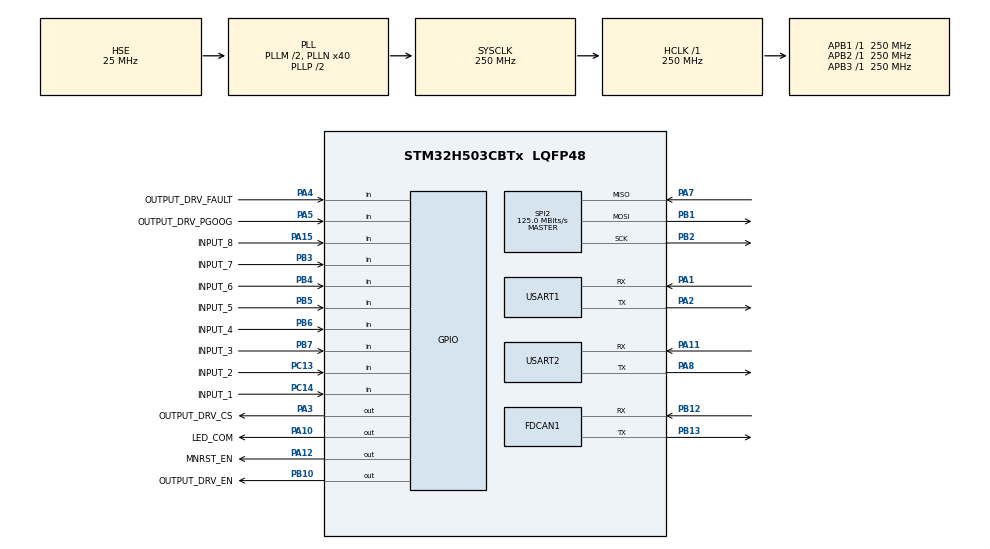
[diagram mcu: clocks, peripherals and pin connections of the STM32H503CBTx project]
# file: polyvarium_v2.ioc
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BOOTPATH.BootPathName=LEGACY
BOOTPATH.UserSelectedBootPath=LEGACY
FDCAN1.CalculateBaudRateNominal=520833
FDCAN1.CalculateTimeBitNominal=1920
FDCAN1.CalculateTimeQuantumNominal=640.0
Mcu.Family=STM32H5
Mcu.Name=STM32H503CBTx
Mcu.Package=LQFP48
NVIC.PriorityGroup=NVIC_PRIORITYGROUP_4
NVIC.TIM6_IRQn=true\:0\:0\:false\:false\:true\:true\:true\:true
PA1.Mode=Asynchronous
PA1.Signal=USART1_RX
PA10.GPIO_Label=LED_COM
PA10.Signal=GPIO_Output
PA11.Mode=Asynchronous
PA11.Signal=USART2_RX
PA12.GPIO_Label=MNRST_EN
PA12.PinState=GPIO_PIN_SET
PA12.Signal=GPIO_Output
PA15(JTDI).GPIO_Label=INPUT_8
PA15(JTDI).Signal=GPIO_Input
PA2.Mode=Asynchronous
PA2.Signal=USART1_TX
PA3.GPIO_Label=OUTPUT_DRV_CS
PA3.Signal=GPIO_Output
PA4.GPIO_Label=OUTPUT_DRV_FAULT
PA4.Signal=GPIO_Input
PA5.GPIO_Label=OUTPUT_DRV_PGOOG
PA5.Signal=GPIO_Input
PA7.Mode=Full_Duplex_Master
PA7.Signal=SPI2_MISO
PA8.Mode=Asynchronous
PA8.Signal=USART2_TX
PB1.Mode=Full_Duplex_Master
PB1.Signal=SPI2_MOSI
PB10.GPIO_Label=OUTPUT_DRV_EN
PB10.Signal=GPIO_Output
PB12.Mode=FDCAN_Activate
PB12.Signal=FDCAN1_RX
PB13.Mode=FDCAN_Activate
PB13.Signal=FDCAN1_TX
PB2.Mode=Full_Duplex_Master
PB2.Signal=SPI2_SCK
PB3(JTDO/TRACESWO).GPIO_Label=INPUT_7
PB3(JTDO/TRACESWO).Signal=GPIO_Input
PB4(NJTRST).GPIO_Label=INPUT_6
PB4(NJTRST).Signal=GPIO_Input
PB5.GPIO_Label=INPUT_5
PB5.Signal=GPIO_Input
PB6.GPIO_Label=INPUT_4
PB6.Signal=GPIO_Input
PB7.GPIO_Label=INPUT_3
PB7.Signal=GPIO_Input
PC13.GPIO_Label=INPUT_2
PC13.Signal=GPIO_Input
PC14-OSC32_IN(OSC32_IN).GPIO_Label=INPUT_1
PC14-OSC32_IN(OSC32_IN).Signal=GPIO_Input
PH0-OSC_IN(PH0).Mode=HSE-External-Oscillator
PH0-OSC_IN(PH0).Signal=RCC_OSC_IN
PH1-OSC_OUT(PH1).Mode=HSE-External-Oscillator
PH1-OSC_OUT(PH1).Signal=RCC_OSC_OUT
ProjectManager.HeapSize=0x200
ProjectManager.StackSize=0x400
ProjectManager.TargetToolchain=CMake
RCC.ADCFreq_Value=250000000
RCC.AHBFreq_Value=250000000
RCC.APB1Freq_Value=250000000
RCC.APB1TimFreq_Value=250000000
RCC.APB2Freq_Value=250000000
RCC.APB2TimFreq_Value=250000000
RCC.APB3Freq_Value=250000000
RCC.CSI_VALUE=4000000
RCC.CortexFreq_Value=250000000
RCC.EPOD_VALUE=25000000
RCC.HCLKFreq_Value=250000000
RCC.HSE_VALUE=25000000
RCC.HSI48_VALUE=48000000
RCC.HSI_VALUE=64000000
RCC.LSE_VALUE=32768
RCC.LSIRC_VALUE=32000
RCC.PLLFRACN=0
RCC.PLLM=2
RCC.PLLN=40
RCC.PLLSourceVirtual=RCC_PLL1_SOURCE_HSE
RCC.SYSCLKFreq_VALUE=250000000
RCC.SYSCLKSource=RCC_SYSCLKSOURCE_PLLCLK
RCC.USBFreq_Value=48000000
RCC.VCOOutputFreq_Value=500000000
SPI2.BaudRatePrescaler=SPI_BAUDRATEPRESCALER_2
SPI2.CalculateBaudRate=125.0 MBits/s
SPI2.Direction=SPI_DIRECTION_2LINES
SPI2.Mode=SPI_MODE_MASTER
SPI2.VirtualType=VM_MASTER
TIM6.PeriodNoDither=10-1
TIM6.Prescaler=25000-1
USART1.VirtualMode=VM_ASYNC
USART2.VirtualMode=VM_ASYNC
VP_BOOTPATH_VS_BOOTPATH.Mode=BP_Activate
VP_CORTEX_M33_NS_VS_Hclk.Mode=Hclk_Mode
VP_ICACHE_VS_ICACHE.Mode=DirectMappedCache
VP_MEMORYMAP_VS_MEMORYMAP.Mode=CurAppReg
VP_PWR_VS_DBSignals.Mode=DisableDeadBatterySignals
VP_PWR_VS_LPOM.Mode=PowerOptimisation
VP_PWR_VS_SECSignals.Mode=Security/Privilege
VP_TIM6_VS_ClockSourceINT.Mode=Enable_Timer
board=custom

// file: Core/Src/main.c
/* USER CODE BEGIN Header */
/**
  ******************************************************************************
  * @file           : main.c
  * @brief          : Main program body
  ******************************************************************************
  * @attention
  *
  * Copyright (c) 2025 STMicroelectronics.
  * All rights reserved.
  *
  * This software is licensed under terms that can be found in the LICENSE file
  * in the root directory of this software component.
  * If no LICENSE file comes with this software, it is provided AS-IS.
  *
  ******************************************************************************
  */
/* USER CODE END Header */
#include "main.h"

FDCAN_HandleTypeDef hfdcan1;

SPI_HandleTypeDef hspi2;

TIM_HandleTypeDef htim6;

UART_HandleTypeDef huart1;
UART_HandleTypeDef huart2;

void SystemClock_Config(void);
static void MX_GPIO_Init(void);
static void MX_FDCAN1_Init(void);
static void MX_SPI2_Init(void);
static void MX_USART1_UART_Init(void);
static void MX_USART2_UART_Init(void);
static void MX_ICACHE_Init(void);
static void MX_TIM6_Init(void);
/* USER CODE BEGIN PFP */
static void App_InputsInit(void);
/* USER CODE END PFP */

int main(void)
{

  /* MCU Configuration--------------------------------------------------------*/

  /* Reset of all peripherals, Initializes the Flash interface and the Systick. */
  HAL_Init();

  /* Configure the system clock */
  SystemClock_Config();

  /* Initialize all configured peripherals */
  MX_GPIO_Init();
  MX_FDCAN1_Init();
  MX_SPI2_Init();
  MX_USART1_UART_Init();
  MX_USART2_UART_Init();
  MX_ICACHE_Init();
  MX_TIM6_Init();
  /* USER CODE BEGIN 2 */

  // 1. Init des couches de service
  evq_init();              // file d’événements
  tmr_init();              // timers logiciels

  // 2. Init des entrées
  App_InputsInit();

  // 3. Init de la FSM
  fsm_init(ST_IDLE);       // état initial de la table FSM

  HAL_TIM_Base_Start_IT(&htim6); // démarrage du timer périodique

  /* USER CODE END 2 */

  /* Infinite loop */
  while (1)
  {

  }
}

void SystemClock_Config(void)
{
  RCC_OscInitTypeDef RCC_OscInitStruct = {0};
  RCC_ClkInitTypeDef RCC_ClkInitStruct = {0};

  /** Configure the main internal regulator output voltage
  */
  __HAL_PWR_VOLTAGESCALING_CONFIG(PWR_REGULATOR_VOLTAGE_SCALE0);

  while(!__HAL_PWR_GET_FLAG(PWR_FLAG_VOSRDY)) {}

  /** Initializes the RCC Oscillators according to the specified parameters
  * in the RCC_OscInitTypeDef structure.
  */
  RCC_OscInitStruct.OscillatorType = RCC_OSCILLATORTYPE_HSE;
  RCC_OscInitStruct.HSEState = RCC_HSE_ON;
  RCC_OscInitStruct.PLL.PLLState = RCC_PLL_ON;
  RCC_OscInitStruct.PLL.PLLSource = RCC_PLL1_SOURCE_HSE;
  RCC_OscInitStruct.PLL.PLLM = 2;
  RCC_OscInitStruct.PLL.PLLN = 40;
  RCC_OscInitStruct.PLL.PLLP = 2;
  RCC_OscInitStruct.PLL.PLLQ = 2;
  RCC_OscInitStruct.PLL.PLLR = 2;
  RCC_OscInitStruct.PLL.PLLRGE = RCC_PLL1_VCIRANGE_3;
  RCC_OscInitStruct.PLL.PLLVCOSEL = RCC_PLL1_VCORANGE_WIDE;
  RCC_OscInitStruct.PLL.PLLFRACN = 0;
  if (HAL_RCC_OscConfig(&RCC_OscInitStruct) != HAL_OK)
  {
    Error_Handler();
  }

  /** Initializes the CPU, AHB and APB buses clocks
  */
  RCC_ClkInitStruct.ClockType = RCC_CLOCKTYPE_HCLK|RCC_CLOCKTYPE_SYSCLK
                              |RCC_CLOCKTYPE_PCLK1|RCC_CLOCKTYPE_PCLK2
                              |RCC_CLOCKTYPE_PCLK3;
  RCC_ClkInitStruct.SYSCLKSource = RCC_SYSCLKSOURCE_PLLCLK;
  RCC_ClkInitStruct.AHBCLKDivider = RCC_SYSCLK_DIV1;
  RCC_ClkInitStruct.APB1CLKDivider = RCC_HCLK_DIV1;
  RCC_ClkInitStruct.APB2CLKDivider = RCC_HCLK_DIV1;
  RCC_ClkInitStruct.APB3CLKDivider = RCC_HCLK_DIV1;

  if (HAL_RCC_ClockConfig(&RCC_ClkInitStruct, FLASH_LATENCY_5) != HAL_OK)
  {
    Error_Handler();
  }
}

static void MX_FDCAN1_Init(void)
{

  hfdcan1.Instance = FDCAN1;
  hfdcan1.Init.ClockDivider = FDCAN_CLOCK_DIV1;
  hfdcan1.Init.FrameFormat = FDCAN_FRAME_CLASSIC;
  hfdcan1.Init.Mode = FDCAN_MODE_NORMAL;
  hfdcan1.Init.AutoRetransmission = DISABLE;
  hfdcan1.Init.TransmitPause = DISABLE;
  hfdcan1.Init.ProtocolException = DISABLE;
  hfdcan1.Init.NominalPrescaler = 16;
  hfdcan1.Init.NominalSyncJumpWidth = 1;
  hfdcan1.Init.NominalTimeSeg1 = 1;
  hfdcan1.Init.NominalTimeSeg2 = 1;
  hfdcan1.Init.DataPrescaler = 1;
  hfdcan1.Init.DataSyncJumpWidth = 1;
  hfdcan1.Init.DataTimeSeg1 = 1;
  hfdcan1.Init.DataTimeSeg2 = 1;
  hfdcan1.Init.StdFiltersNbr = 0;
  hfdcan1.Init.ExtFiltersNbr = 0;
  hfdcan1.Init.TxFifoQueueMode = FDCAN_TX_FIFO_OPERATION;
  if (HAL_FDCAN_Init(&hfdcan1) != HAL_OK)
  {
    Error_Handler();
  }

}

static void MX_ICACHE_Init(void)
{

  /** Enable instruction cache in 1-way (direct mapped cache)
  */
  if (HAL_ICACHE_ConfigAssociativityMode(ICACHE_1WAY) != HAL_OK)
  {
    Error_Handler();
  }
  if (HAL_ICACHE_Enable() != HAL_OK)
  {
    Error_Handler();
  }

}

static void MX_SPI2_Init(void)
{

  /* SPI2 parameter configuration*/
  hspi2.Instance = SPI2;
  hspi2.Init.Mode = SPI_MODE_MASTER;
  hspi2.Init.Direction = SPI_DIRECTION_2LINES;
  hspi2.Init.DataSize = SPI_DATASIZE_4BIT;
  hspi2.Init.CLKPolarity = SPI_POLARITY_LOW;
  hspi2.Init.CLKPhase = SPI_PHASE_1EDGE;
  hspi2.Init.NSS = SPI_NSS_SOFT;
  hspi2.Init.BaudRatePrescaler = SPI_BAUDRATEPRESCALER_2;
  hspi2.Init.FirstBit = SPI_FIRSTBIT_MSB;
  hspi2.Init.TIMode = SPI_TIMODE_DISABLE;
  hspi2.Init.CRCCalculation = SPI_CRCCALCULATION_DISABLE;
  hspi2.Init.CRCPolynomial = 0x7;
  hspi2.Init.NSSPMode = SPI_NSS_PULSE_ENABLE;
  hspi2.Init.NSSPolarity = SPI_NSS_POLARITY_LOW;
  hspi2.Init.FifoThreshold = SPI_FIFO_THRESHOLD_01DATA;
  hspi2.Init.MasterSSIdleness = SPI_MASTER_SS_IDLENESS_00CYCLE;
  hspi2.Init.MasterInterDataIdleness = SPI_MASTER_INTERDATA_IDLENESS_00CYCLE;
  hspi2.Init.MasterReceiverAutoSusp = SPI_MASTER_RX_AUTOSUSP_DISABLE;
  hspi2.Init.MasterKeepIOState = SPI_MASTER_KEEP_IO_STATE_DISABLE;
  hspi2.Init.IOSwap = SPI_IO_SWAP_DISABLE;
  hspi2.Init.ReadyMasterManagement = SPI_RDY_MASTER_MANAGEMENT_INTERNALLY;
  hspi2.Init.ReadyPolarity = SPI_RDY_POLARITY_HIGH;
  if (HAL_SPI_Init(&hspi2) != HAL_OK)
  {
    Error_Handler();
  }

}

static void MX_TIM6_Init(void)
{

  TIM_MasterConfigTypeDef sMasterConfig = {0};

  htim6.Instance = TIM6;
  htim6.Init.Prescaler = 25000-1;
  htim6.Init.CounterMode = TIM_COUNTERMODE_UP;
  htim6.Init.Period = 9;
  htim6.Init.AutoReloadPreload = TIM_AUTORELOAD_PRELOAD_DISABLE;
  if (HAL_TIM_Base_Init(&htim6) != HAL_OK)
  {
    Error_Handler();
  }
  sMasterConfig.MasterOutputTrigger = TIM_TRGO_RESET;
  sMasterConfig.MasterSlaveMode = TIM_MASTERSLAVEMODE_DISABLE;
  if (HAL_TIMEx_MasterConfigSynchronization(&htim6, &sMasterConfig) != HAL_OK)
  {
    Error_Handler();
  }

}

static void MX_USART1_UART_Init(void)
{

  huart1.Instance = USART1;
  huart1.Init.BaudRate = 115200;
  huart1.Init.WordLength = UART_WORDLENGTH_8B;
  huart1.Init.StopBits = UART_STOPBITS_1;
  huart1.Init.Parity = UART_PARITY_NONE;
  huart1.Init.Mode = UART_MODE_TX_RX;
  huart1.Init.HwFlowCtl = UART_HWCONTROL_NONE;
  huart1.Init.OverSampling = UART_OVERSAMPLING_16;
  huart1.Init.OneBitSampling = UART_ONE_BIT_SAMPLE_DISABLE;
  huart1.Init.ClockPrescaler = UART_PRESCALER_DIV1;
  huart1.AdvancedInit.AdvFeatureInit = UART_ADVFEATURE_NO_INIT;
  if (HAL_UART_Init(&huart1) != HAL_OK)
  {
    Error_Handler();
  }
  if (HAL_UARTEx_SetTxFifoThreshold(&huart1, UART_TXFIFO_THRESHOLD_1_8) != HAL_OK)
  {
    Error_Handler();
  }
  if (HAL_UARTEx_SetRxFifoThreshold(&huart1, UART_RXFIFO_THRESHOLD_1_8) != HAL_OK)
  {
    Error_Handler();
  }
  if (HAL_UARTEx_DisableFifoMode(&huart1) != HAL_OK)
  {
    Error_Handler();
  }

}

static void MX_USART2_UART_Init(void)
{

  huart2.Instance = USART2;
  huart2.Init.BaudRate = 115200;
  huart2.Init.WordLength = UART_WORDLENGTH_8B;
  huart2.Init.StopBits = UART_STOPBITS_1;
  huart2.Init.Parity = UART_PARITY_NONE;
  huart2.Init.Mode = UART_MODE_TX_RX;
  huart2.Init.HwFlowCtl = UART_HWCONTROL_NONE;
  huart2.Init.OverSampling = UART_OVERSAMPLING_16;
  huart2.Init.OneBitSampling = UART_ONE_BIT_SAMPLE_DISABLE;
  huart2.Init.ClockPrescaler = UART_PRESCALER_DIV1;
  huart2.AdvancedInit.AdvFeatureInit = UART_ADVFEATURE_NO_INIT;
  if (HAL_UART_Init(&huart2) != HAL_OK)
  {
    Error_Handler();
  }
  if (HAL_UARTEx_SetTxFifoThreshold(&huart2, UART_TXFIFO_THRESHOLD_1_8) != HAL_OK)
  {
    Error_Handler();
  }
  if (HAL_UARTEx_SetRxFifoThreshold(&huart2, UART_RXFIFO_THRESHOLD_1_8) != HAL_OK)
  {
    Error_Handler();
  }
  if (HAL_UARTEx_DisableFifoMode(&huart2) != HAL_OK)
  {
    Error_Handler();
  }

}

static void MX_GPIO_Init(void)
{
  GPIO_InitTypeDef GPIO_InitStruct = {0};

  /* GPIO Ports Clock Enable */
  __HAL_RCC_GPIOC_CLK_ENABLE();
  __HAL_RCC_GPIOH_CLK_ENABLE();
  __HAL_RCC_GPIOA_CLK_ENABLE();
  __HAL_RCC_GPIOB_CLK_ENABLE();

  /*Configure GPIO pin Output Level */
  HAL_GPIO_WritePin(GPIOA, OUTPUT_DRV_CS_Pin|LED_COM_Pin, GPIO_PIN_RESET);

  /*Configure GPIO pin Output Level */
  HAL_GPIO_WritePin(OUTPUT_DRV_EN_GPIO_Port, OUTPUT_DRV_EN_Pin, GPIO_PIN_RESET);

  /*Configure GPIO pin Output Level */
  HAL_GPIO_WritePin(MNRST_EN_GPIO_Port, MNRST_EN_Pin, GPIO_PIN_SET);

  /*Configure GPIO pins : INPUT_2_Pin INPUT_1_Pin */
  GPIO_InitStruct.Pin = INPUT_2_Pin|INPUT_1_Pin;
  GPIO_InitStruct.Mode = GPIO_MODE_INPUT;
  GPIO_InitStruct.Pull = GPIO_NOPULL;
  HAL_GPIO_Init(GPIOC, &GPIO_InitStruct);

  /*Configure GPIO pins : OUTPUT_DRV_CS_Pin LED_COM_Pin MNRST_EN_Pin */
  GPIO_InitStruct.Pin = OUTPUT_DRV_CS_Pin|LED_COM_Pin|MNRST_EN_Pin;
  GPIO_InitStruct.Mode = GPIO_MODE_OUTPUT_PP;
  GPIO_InitStruct.Pull = GPIO_NOPULL;
  GPIO_InitStruct.Speed = GPIO_SPEED_FREQ_LOW;
  HAL_GPIO_Init(GPIOA, &GPIO_InitStruct);

  /*Configure GPIO pins : OUTPUT_DRV_FAULT_Pin OUTPUT_DRV_PGOOG_Pin INPUT_8_Pin */
  GPIO_InitStruct.Pin = OUTPUT_DRV_FAULT_Pin|OUTPUT_DRV_PGOOG_Pin|INPUT_8_Pin;
  GPIO_InitStruct.Mode = GPIO_MODE_INPUT;
  GPIO_InitStruct.Pull = GPIO_NOPULL;
  HAL_GPIO_Init(GPIOA, &GPIO_InitStruct);

  /*Configure GPIO pin : OUTPUT_DRV_EN_Pin */
  GPIO_InitStruct.Pin = OUTPUT_DRV_EN_Pin;
  GPIO_InitStruct.Mode = GPIO_MODE_OUTPUT_PP;
  GPIO_InitStruct.Pull = GPIO_NOPULL;
  GPIO_InitStruct.Speed = GPIO_SPEED_FREQ_LOW;
  HAL_GPIO_Init(OUTPUT_DRV_EN_GPIO_Port, &GPIO_InitStruct);

  /*Configure GPIO pins : INPUT_7_Pin INPUT_6_Pin INPUT_5_Pin INPUT_4_Pin
                           INPUT_3_Pin */
  GPIO_InitStruct.Pin = INPUT_7_Pin|INPUT_6_Pin|INPUT_5_Pin|INPUT_4_Pin
                          |INPUT_3_Pin;
  GPIO_InitStruct.Mode = GPIO_MODE_INPUT;
  GPIO_InitStruct.Pull = GPIO_NOPULL;
  HAL_GPIO_Init(GPIOB, &GPIO_InitStruct);

}

/* USER CODE BEGIN 4 */
static void App_InputsInit(void)
{
    InputsConfig cfg = {
        .thermostat_active_low = TH_ACTIVE_LOW,
        .provider_active_low   = PROV_ACTIVE_LOW,
        .modeA_active_low      = MODEA_ACTIVE_LOW,
        .modeB_active_low      = MODEB_ACTIVE_LOW,
        .modeC_active_low      = MODEC_ACTIVE_LOW,
    };

    inputs_init(&cfg);
    inputs_seed_from_hw();// pour ne pas envoyer d’événements parasites au boot
}

void HAL_TIM_PeriodElapsedCallback(TIM_HandleTypeDef *htim)
{
    if (htim->Instance == TIM6) { inputs_tick(); }   // tick des timers logiciels
}

/* USER CODE END 4 */

void Error_Handler(void)
{
  __disable_irq();
  while (1)
  {
  }
}
